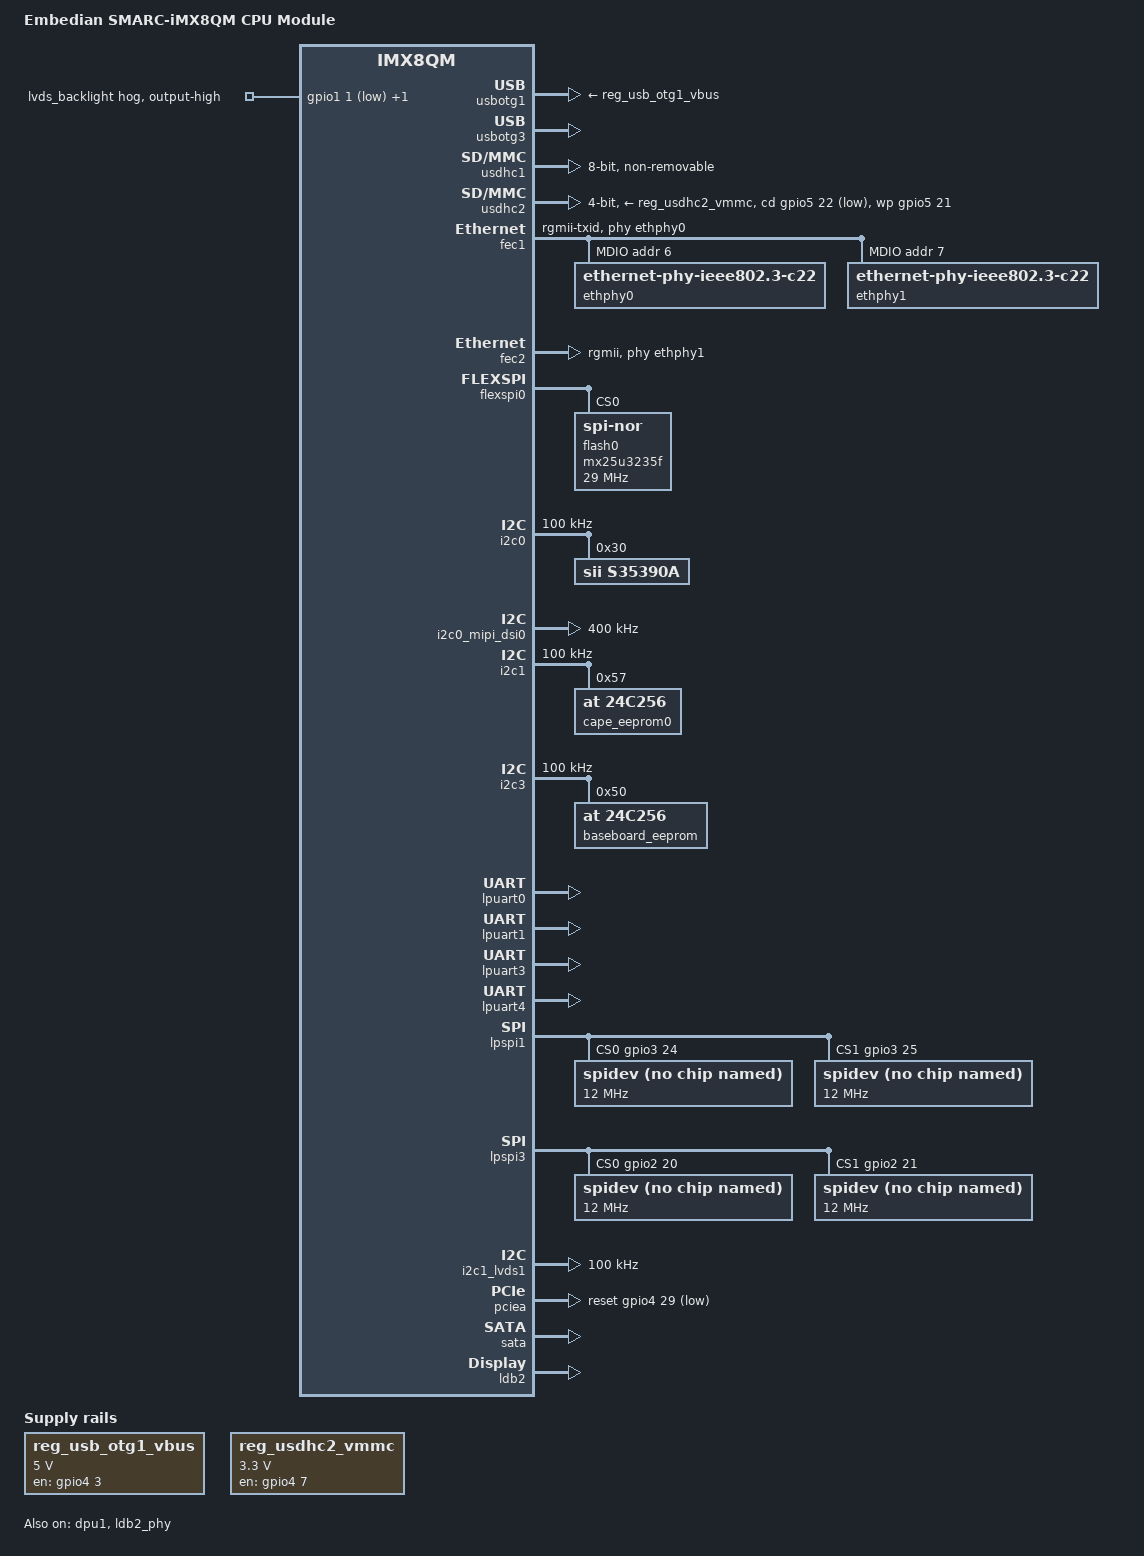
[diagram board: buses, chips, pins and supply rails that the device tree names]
// SPDX-License-Identifier: GPL-2.0+
/*
 * Copyright 2017-2018 NXP
 * Copyright 2023 Embedian, Inc.
 */

/dts-v1/;

#include "fsl-imx8qm.dtsi"

/ {
	model = "Embedian SMARC-iMX8QM CPU Module";
	compatible = "embedian,smarc-imx8qm", "fsl,imx8qm";

	/* SER0 */
	/*chosen {
		stdout-path = &lpuart0;
	};*/
	/* SER1 */
	/*chosen {
		stdout-path = &lpuart3;
	};*/
	/* SER2 */
	/*chosen {
		stdout-path = &lpuart1;
	};
	/* SER3 */
	chosen {
		stdout-path = &lpuart4;
	};

	aliases {
		ethernet1 = &fec2;	/* Let eth1addr mac address pass from U-Boot EEPROM */
	};

	regulators {
		compatible = "simple-bus";
		#address-cells = <1>;
		#size-cells = <0>;

		reg_usb_otg1_vbus: regulator@0 {
			compatible = "regulator-fixed";
			reg = <0>;
			regulator-name = "usb_otg1_vbus";
			regulator-min-microvolt = <5000000>;
			regulator-max-microvolt = <5000000>;
			gpio = <&gpio4 3 GPIO_ACTIVE_HIGH>;
			enable-active-high;
		};

		reg_usdhc2_vmmc: usdhc2_vmmc {
			compatible = "regulator-fixed";
			regulator-name = "sw-3p3-sd1";
			regulator-min-microvolt = <3300000>;
			regulator-max-microvolt = <3300000>;
			gpio = <&gpio4 7 GPIO_ACTIVE_HIGH>;
			off-on-delay-us = <4800>;
			enable-active-high;
		};
	};
};

&iomuxc {
	pinctrl-names = "default";
	pinctrl-0 = <&pinctrl_pcieb>, <&pinctrl_hdmisel>, <&pinctrl_lvds0_gpio>, <&pinctrl_lvds1_gpio>, <&pinctrl_edp0_gpio>, <&pinctrl_edp1_gpio>, <&pinctrl_hog>;

	imx8qm-smarc {
		pinctrl_hog: hoggrp {
			fsl,pins = <
				SC_P_MIPI_CSI0_GPIO0_01_LSIO_GPIO1_IO28		0x06000040	/* GPIO0 */
				SC_P_MIPI_CSI1_GPIO0_01_LSIO_GPIO1_IO31		0x06000040	/* GPIO1 */
				SC_P_MIPI_CSI0_GPIO0_00_LSIO_GPIO1_IO27		0x06000040	/* GPIO2 */
				SC_P_MIPI_CSI1_GPIO0_00_LSIO_GPIO1_IO30		0x06000040	/* GPIO3 */
				SC_P_GPT0_CLK_LSIO_GPIO0_IO14			0x06000040	/* GPIO4 */
				SC_P_GPT0_COMPARE_LSIO_GPIO0_IO16		0x06000040	/* GPIO5 */
				SC_P_GPT0_CAPTURE_LSIO_GPIO0_IO15		0x06000040	/* GPIO6 */
				SC_P_GPT1_COMPARE_LSIO_GPIO0_IO19		0x06000040	/* GPIO7 */
				SC_P_GPT1_CAPTURE_LSIO_GPIO0_IO18		0x06000040	/* GPIO8 */
				SC_P_GPT1_CLK_LSIO_GPIO0_IO17			0x06000040	/* GPIO9 */
				SC_P_FLEXCAN2_TX_LSIO_GPIO4_IO02		0x06000040	/* GPIO10 */
				SC_P_FLEXCAN2_RX_LSIO_GPIO4_IO01		0x06000040	/* GPIO11 */
				SC_P_SCU_GPIO0_03_LSIO_GPIO0_IO31		0x06000020	/* LID# */
				SC_P_SCU_GPIO0_04_LSIO_GPIO1_IO00		0x06000020	/* SLEEP */
				SC_P_SCU_GPIO0_05_LSIO_GPIO1_IO01		0x06000020	/* CHARGING */
				SC_P_SCU_GPIO0_06_LSIO_GPIO1_IO02		0x06000020	/* CHARGER_PRSNT# */
				SC_P_SCU_GPIO0_07_LSIO_GPIO1_IO03		0x06000020	/* BATLOW# */
				SC_P_SCU_GPIO0_02_LSIO_GPIO0_IO30		0x06000020	/* CARRIER_STBY# */
				SC_P_SPDIF0_TX_LSIO_GPIO2_IO15			0x06000020	/* WDT_TIME_OUT# */
			>;
		};

		pinctrl_hdmisel: hdmiselgrp {
			fsl,pins = <
				SC_P_SIM0_GPIO0_00_LSIO_GPIO0_IO05		0x06000020
			>;
		};

		pinctrl_lvds0_gpio: lvds0gpiogrp {
			fsl,pins = <
				SC_P_LVDS0_GPIO01_LSIO_GPIO1_IO05               0x06000020	/* LCD0_VDD_EN */
			>;
		};

		pinctrl_lvds1_gpio: lvds1gpiogrp {
			fsl,pins = <
				SC_P_LVDS1_GPIO01_LSIO_GPIO1_IO11               0x06000020	/* LCD1_VDD_EN */
			>;
		};

		pinctrl_backlight: backlightgrp {
			fsl,pins = <
				SC_P_LVDS0_I2C0_SCL_LSIO_GPIO1_IO06		0x06000020	/* LCD0_BKLT_EN */
				SC_P_LVDS0_I2C0_SDA_LSIO_GPIO1_IO07		0x06000020	/* LCD1_BKLT_EN */
			>;
		};

		pinctrl_pwm_lvds0: pwmlvds0grp {
			fsl,pins = <
				SC_P_LVDS0_GPIO00_LVDS0_PWM0_OUT		0x00000020
			>;
		};

		pinctrl_edp0_gpio: edp0gpiogrp {
			fsl,pins = <
				SC_P_MIPI_DSI1_GPIO0_00_LSIO_GPIO1_IO22		0x06000020	/* eDP0_EN */
				SC_P_MIPI_DSI1_GPIO0_01_LSIO_GPIO1_IO23		0x06000040	/* eDP0_IRQ */
			>;
		};

		pinctrl_edp1_gpio: edp1gpiogrp {
			fsl,pins = <
				SC_P_MIPI_DSI0_GPIO0_00_LSIO_GPIO1_IO18		0x06000020	/* eDP1_EN */
				SC_P_MIPI_DSI0_GPIO0_01_LSIO_GPIO1_IO19		0x06000040	/* eDP1_IRQ */
			>;
		};

		pinctrl_fec1: fec1grp {
			fsl,pins = <
				SC_P_COMP_CTL_GPIO_1V8_3V3_ENET_ENETB_PAD	0x000014a0
				SC_P_ENET0_MDC_CONN_ENET0_MDC			0x06000020
				SC_P_ENET0_MDIO_CONN_ENET0_MDIO			0x06000020
				SC_P_ENET0_RGMII_TX_CTL_CONN_ENET0_RGMII_TX_CTL	0x00000061
				SC_P_ENET0_RGMII_TXC_CONN_ENET0_RGMII_TXC	0x00000061
				SC_P_ENET0_RGMII_TXD0_CONN_ENET0_RGMII_TXD0	0x00000061
				SC_P_ENET0_RGMII_TXD1_CONN_ENET0_RGMII_TXD1	0x00000061
				SC_P_ENET0_RGMII_TXD2_CONN_ENET0_RGMII_TXD2	0x00000061
				SC_P_ENET0_RGMII_TXD3_CONN_ENET0_RGMII_TXD3	0x00000061
				SC_P_ENET0_RGMII_RXC_CONN_ENET0_RGMII_RXC	0x00000061
				SC_P_ENET0_RGMII_RX_CTL_CONN_ENET0_RGMII_RX_CTL	0x00000061
				SC_P_ENET0_RGMII_RXD0_CONN_ENET0_RGMII_RXD0	0x00000061
				SC_P_ENET0_RGMII_RXD1_CONN_ENET0_RGMII_RXD1	0x00000061
				SC_P_ENET0_RGMII_RXD2_CONN_ENET0_RGMII_RXD2	0x00000061
				SC_P_ENET0_RGMII_RXD3_CONN_ENET0_RGMII_RXD3	0x00000061
		/* ETH IRQ */
				SC_P_QSPI1A_DATA0_LSIO_GPIO4_IO26		0x06000021
			>;
		};

		pinctrl_fec2: fec2grp {
			fsl,pins = <
				SC_P_COMP_CTL_GPIO_1V8_3V3_ENET_ENETA_PAD	0x000014a0
				SC_P_ENET1_RGMII_TX_CTL_CONN_ENET1_RGMII_TX_CTL	0x00000060
				SC_P_ENET1_RGMII_TXC_CONN_ENET1_RGMII_TXC	0x00000060
				SC_P_ENET1_RGMII_TXD0_CONN_ENET1_RGMII_TXD0	0x00000060
				SC_P_ENET1_RGMII_TXD1_CONN_ENET1_RGMII_TXD1	0x00000060
				SC_P_ENET1_RGMII_TXD2_CONN_ENET1_RGMII_TXD2	0x00000060
				SC_P_ENET1_RGMII_TXD3_CONN_ENET1_RGMII_TXD3	0x00000060
				SC_P_ENET1_RGMII_RXC_CONN_ENET1_RGMII_RXC	0x00000060
				SC_P_ENET1_RGMII_RX_CTL_CONN_ENET1_RGMII_RX_CTL	0x00000060
				SC_P_ENET1_RGMII_RXD0_CONN_ENET1_RGMII_RXD0	0x00000060
				SC_P_ENET1_RGMII_RXD1_CONN_ENET1_RGMII_RXD1	0x00000060
				SC_P_ENET1_RGMII_RXD2_CONN_ENET1_RGMII_RXD2	0x00000060
				SC_P_ENET1_RGMII_RXD3_CONN_ENET1_RGMII_RXD3	0x00000060
		/* ETH IRQ */
				SC_P_QSPI1A_DATA0_LSIO_GPIO4_IO26		0x06000021
			>;
		};

		pinctrl_flexspi0: flexspi0grp {
			fsl,pins = <
				SC_P_QSPI0A_DATA0_LSIO_QSPI0A_DATA0	0x06000021
				SC_P_QSPI0A_DATA1_LSIO_QSPI0A_DATA1	0x06000021
				SC_P_QSPI0A_DATA2_LSIO_QSPI0A_DATA2	0x06000021
				SC_P_QSPI0A_DATA3_LSIO_QSPI0A_DATA3	0x06000021
				SC_P_QSPI0A_DQS_LSIO_QSPI0A_DQS		0x06000021
				SC_P_QSPI0A_SS0_B_LSIO_QSPI0A_SS0_B	0x06000021
				SC_P_QSPI0A_SCLK_LSIO_QSPI0A_SCLK	0x06000021
			>;
		};

		/* SER0 */
		pinctrl_lpuart0: lpuart0grp {
			fsl,pins = <
				SC_P_UART0_RX_DMA_UART0_RX		0x06000020
				SC_P_UART0_TX_DMA_UART0_TX		0x06000020
			>;
		};

		/* SER1 */
		pinctrl_lpuart3: lpuart3grp {
			fsl,pins = <
				SC_P_M41_GPIO0_00_DMA_UART3_RX		0x06000020
				SC_P_M41_GPIO0_01_DMA_UART3_TX		0x06000020
			>;
		};

		/* SER2 */
		pinctrl_lpuart1: lpuart1grp {
			fsl,pins = <
				SC_P_UART1_RX_DMA_UART1_RX		0x06000020
				SC_P_UART1_TX_DMA_UART1_TX		0x06000020
			>;
		};

		/* SER3 */
		pinctrl_lpuart4: lpuart4grp {
			fsl,pins = <
				SC_P_M40_GPIO0_00_DMA_UART4_RX		0x06000020
				SC_P_M40_GPIO0_01_DMA_UART4_TX		0x06000020
			>;
		};

		/* SPI1 */
		pinctrl_lpspi1: lpspi1grp {
			fsl,pins = <
				SC_P_ADC_IN3_DMA_SPI1_SCK		0x0600004c
				SC_P_ADC_IN4_DMA_SPI1_SDO               0x0600004c
				SC_P_ADC_IN5_DMA_SPI1_SDI		0x0600004c
			>;
		};

		pinctrl_lpspi1_cs: lpspi1csgrp {
			fsl,pins = <
				SC_P_ADC_IN6_LSIO_GPIO3_IO24		0x00000021
				SC_P_ADC_IN7_LSIO_GPIO3_IO25		0x00000021
			>;
		};

		/* SPI3 */
		pinctrl_lpspi3: lpspi3grp {
			fsl,pins = <
				SC_P_SPI3_SCK_DMA_SPI3_SCK		0x0600004c
				SC_P_SPI3_SDO_DMA_SPI3_SDO		0x0600004c
				SC_P_SPI3_SDI_DMA_SPI3_SDI		0x0600004c
			>;
		};

		pinctrl_lpspi3_cs: lpspi3csgrp {
			fsl,pins = <
				SC_P_SPI3_CS0_LSIO_GPIO2_IO20		0x00000021
				SC_P_SPI3_CS1_LSIO_GPIO2_IO21		0x00000021
			>;
		};

		pinctrl_i2c0: lpi2c0grp {
			fsl,pins = <
				SC_P_HDMI_TX0_TS_SCL_DMA_I2C0_SCL	0xc600004c
				SC_P_HDMI_TX0_TS_SDA_DMA_I2C0_SDA	0xc600004c
			>;
		};

		pinctrl_mipi0_lpi2c0: mipi0_lpi2c0grp {
			fsl,pins = <
				SC_P_MIPI_DSI0_I2C0_SCL_MIPI_DSI0_I2C0_SCL	0xc6000020
				SC_P_MIPI_DSI0_I2C0_SDA_MIPI_DSI0_I2C0_SDA	0xc6000020
			>;
		};

		/* I2C_PM */
		pinctrl_i2c1: lpi2c1grp {
			fsl,pins = <
				SC_P_USB_HSIC0_STROBE_DMA_I2C1_SCL		0xc600004c
				SC_P_USB_HSIC0_DATA_DMA_I2C1_SDA		0xc600004c
			>;
		};

		/* I2C_CAM0 */
		pinctrl_i2c_mipi_csi0: i2c_mipi_csi0 {
			fsl,pins = <
				SC_P_MIPI_CSI0_I2C0_SCL_MIPI_CSI0_I2C0_SCL	0xc600004c
				SC_P_MIPI_CSI0_I2C0_SDA_MIPI_CSI0_I2C0_SDA	0xc600004c
			>;
		};

		/* I2C_CAM1 */
		pinctrl_i2c_mipi_csi1: i2c_mipi_csi1 {
			fsl,pins = <
				SC_P_MIPI_CSI1_I2C0_SCL_MIPI_CSI1_I2C0_SCL	0xc600004c
				SC_P_MIPI_CSI1_I2C0_SDA_MIPI_CSI1_I2C0_SDA	0xc600004c
			>;
		};

		/* I2C_GP */
		pinctrl_i2c3: lpi2c3grp {
			fsl,pins = <
				SC_P_SIM0_PD_DMA_I2C3_SCL			0xc600004c
				SC_P_SIM0_POWER_EN_DMA_I2C3_SDA			0xc600004c
			>;
		};

		pinctrl_pciea: pcieagrp{
			fsl,pins = <
				SC_P_QSPI1A_SS0_B_LSIO_GPIO4_IO19		0x06000020
				SC_P_PCIE_CTRL0_WAKE_B_LSIO_GPIO4_IO28		0x04000021
				SC_P_PCIE_CTRL0_PERST_B_LSIO_GPIO4_IO29		0x06000020
			>;
		};

		pinctrl_pcieb: pciebgrp{
			fsl,pins = <
				SC_P_QSPI1A_SS1_B_LSIO_GPIO4_IO20		0x06000020
				SC_P_PCIE_CTRL1_WAKE_B_LSIO_GPIO4_IO31		0x04000021
				SC_P_PCIE_CTRL1_PERST_B_LSIO_GPIO5_IO00		0x06000020
			>;
		};

		pinctrl_typec: typecgrp {
			fsl,pins = <
				SC_P_QSPI1A_SS0_B_LSIO_GPIO4_IO19	0x60
				SC_P_USB_SS3_TC3_LSIO_GPIO4_IO06	0x60
				SC_P_QSPI1A_DATA0_LSIO_GPIO4_IO26	0x00000021
			>;
		};

		pinctrl_usbotg1: usbotg1 {
			fsl,pins = <
				SC_P_USB_SS3_TC0_LSIO_GPIO4_IO03	0x06000020
				SC_P_USB_SS3_TC2_LSIO_GPIO4_IO05	0x06000020
			>;
		};

		pinctrl_usbotg3: usbotg3 {
			fsl,pins = <
				SC_P_USB_SS3_TC1_LSIO_GPIO4_IO04	0x06000020
				SC_P_USB_SS3_TC3_LSIO_GPIO4_IO06	0x06000020
			>;
		};

		pinctrl_usdhc1: usdhc1grp {
			fsl,pins = <
				SC_P_EMMC0_CLK_CONN_EMMC0_CLK		0x06000041
				SC_P_EMMC0_CMD_CONN_EMMC0_CMD		0x00000021
				SC_P_EMMC0_DATA0_CONN_EMMC0_DATA0	0x00000021
				SC_P_EMMC0_DATA1_CONN_EMMC0_DATA1	0x00000021
				SC_P_EMMC0_DATA2_CONN_EMMC0_DATA2	0x00000021
				SC_P_EMMC0_DATA3_CONN_EMMC0_DATA3	0x00000021
				SC_P_EMMC0_DATA4_CONN_EMMC0_DATA4	0x00000021
				SC_P_EMMC0_DATA5_CONN_EMMC0_DATA5	0x00000021
				SC_P_EMMC0_DATA6_CONN_EMMC0_DATA6	0x00000021
				SC_P_EMMC0_DATA7_CONN_EMMC0_DATA7	0x00000021
				SC_P_EMMC0_STROBE_CONN_EMMC0_STROBE	0x00000041
				SC_P_EMMC0_RESET_B_CONN_EMMC0_RESET_B	0x00000021
			>;
		};

		pinctrl_usdhc2_gpio: usdhc2grpgpio {
			fsl,pins = <
				SC_P_USDHC1_DATA6_LSIO_GPIO5_IO21	0x00000021
				SC_P_USDHC1_DATA7_LSIO_GPIO5_IO22	0x00000021
				SC_P_USDHC1_RESET_B_LSIO_GPIO4_IO07	0x00000021
			>;
		};

		pinctrl_usdhc2: usdhc2grp {
			fsl,pins = <
				SC_P_USDHC1_CLK_CONN_USDHC1_CLK		0x06000041
				SC_P_USDHC1_CMD_CONN_USDHC1_CMD		0x00000021
				SC_P_USDHC1_DATA0_CONN_USDHC1_DATA0	0x00000021
				SC_P_USDHC1_DATA1_CONN_USDHC1_DATA1	0x00000021
				SC_P_USDHC1_DATA2_CONN_USDHC1_DATA2	0x00000021
				SC_P_USDHC1_DATA3_CONN_USDHC1_DATA3	0x00000021
				SC_P_USDHC1_VSELECT_CONN_USDHC1_VSELECT	0x00000021
			>;
		};

		pinctrl_lvds0_lpi2c1: lvds0lpi2c1grp {
			fsl,pins = <
				SC_P_LVDS0_I2C1_SCL_LVDS0_I2C1_SCL	0xc600004c
				SC_P_LVDS0_I2C1_SDA_LVDS0_I2C1_SDA	0xc600004c
			>;
		};

		/* I2C_LCD */
		pinctrl_lvds1_lpi2c0: lvds1lpi2c0grp {
			fsl,pins = <
				SC_P_LVDS1_I2C0_SCL_LVDS1_I2C0_SCL	0xc600004c
				SC_P_LVDS1_I2C0_SDA_LVDS1_I2C0_SDA	0xc600004c
			>;
		};

		pinctrl_wlreg_on: wlregongrp{
			fsl,pins = <
				SC_P_LVDS1_I2C0_SDA_LSIO_GPIO1_IO13		0x06000000
			>;
		};

		pinctrl_wlreg_on_sleep: wlregon_sleepgrp{
			fsl,pins = <
				SC_P_LVDS1_I2C0_SDA_LSIO_GPIO1_IO13		0x07800000
			>;
		};
	};
};

&gpio1 {
	status = "okay";
};

&gpio2 {
	status = "okay";
};

&gpio4 {
	status = "okay";
};

&gpio5 {
	status = "okay";
};

&usbotg1 {
	pinctrl-0 = <&pinctrl_usbotg1>;
	vbus-supply = <&reg_usb_otg1_vbus>;
	srp-disable;
	hnp-disable;
	adp-disable;
	disable-over-current;
	status = "okay";
};

&usbotg3 {
	pinctrl-0 = <&pinctrl_usbotg3>;
	gpio = <&gpio4 4 GPIO_ACTIVE_HIGH>;
	status = "okay";
};

&usdhc1 {
	pinctrl-names = "default", "state_100mhz", "state_200mhz";
	pinctrl-0 = <&pinctrl_usdhc1>;
	pinctrl-1 = <&pinctrl_usdhc1>;
	pinctrl-2 = <&pinctrl_usdhc1>;
	bus-width = <8>;
	non-removable;
	status = "okay";
};

&usdhc2 {
	pinctrl-names = "default", "state_100mhz", "state_200mhz";
	pinctrl-0 = <&pinctrl_usdhc2>, <&pinctrl_usdhc2_gpio>;
	pinctrl-1 = <&pinctrl_usdhc2>, <&pinctrl_usdhc2_gpio>;
	pinctrl-2 = <&pinctrl_usdhc2>, <&pinctrl_usdhc2_gpio>;
	bus-width = <4>;
	cd-gpios = <&gpio5 22 GPIO_ACTIVE_LOW>;
	wp-gpios = <&gpio5 21 GPIO_ACTIVE_HIGH>;
	vmmc-supply = <&reg_usdhc2_vmmc>;
	status = "okay";
};

&fec1 {
	pinctrl-names = "default";
	pinctrl-0 = <&pinctrl_fec1>;
	phy-mode = "rgmii-txid";
	phy-handle = <&ethphy0>;
	fsl,magic-packet;
	fsl,rgmii_rxc_dly;
	status = "okay";

	mdio {
		#address-cells = <1>;
		#size-cells = <0>;

		ethphy0: ethernet-phy@6 {
			compatible = "ethernet-phy-ieee802.3-c22";
			reg = <0x6>;
			at803x,eee-disabled;
			at803x,vddio-1p8v;
		};

		ethphy1: ethernet-phy@7 {
			compatible = "ethernet-phy-ieee802.3-c22";
			reg = <0x7>;
			at803x,eee-disabled;
			at803x,vddio-1p8v;
		};
	};
};

&fec2 {
	pinctrl-names = "default";
	pinctrl-0 = <&pinctrl_fec2>;
	phy-mode = "rgmii";
	phy-handle = <&ethphy1>;
	fsl,ar8031-phy-fixup;
	fsl,magic-packet;
	status = "okay";
};

&flexspi0 {
	pinctrl-names = "default";
	pinctrl-0 = <&pinctrl_flexspi0>;
	status = "okay";

	flash0: mx25u3235f@0 {
		reg = <0>;
		#address-cells = <1>;
		#size-cells = <1>;
		compatible = "jedec,spi-nor";
		spi-max-frequency = <29000000>;
		spi-nor,ddr-quad-read-dummy = <8>;
	};
};

&i2c0 {
	#address-cells = <1>;
	#size-cells = <0>;
	clock-frequency = <100000>;
	pinctrl-names = "default";
	pinctrl-0 = <&pinctrl_i2c0>;
	status = "okay";

	s35390a: s35390a@30 {
		compatible = "sii,s35390a";
		reg = <0x30>;
	};
};

&i2c0_mipi_dsi0 {
	#address-cells = <1>;
	#size-cells = <0>;
	pinctrl-names = "default";
	pinctrl-0 = <&pinctrl_mipi0_lpi2c0>;
	clock-frequency = <400000>;
	status = "okay";
};

/* I2C_PM */
&i2c1 {
	#address-cells = <1>;
	#size-cells = <0>;
	clock-frequency = <100000>;
	pinctrl-names = "default";
	pinctrl-0 = <&pinctrl_i2c1>;
	status = "okay";

	cape_eeprom0: cape_eeprom@57 {
		compatible = "at,24c256";
		reg = <0x57>;
	};
};

/* I2C_GP */
&i2c3 {
	#address-cells = <1>;
	#size-cells = <0>;
	clock-frequency = <100000>;
	pinctrl-names = "default";
	pinctrl-0 = <&pinctrl_i2c3>;
	status = "okay";

	baseboard_eeprom: baseboard_eeprom@50 {
		compatible = "at,24c256";
		reg = <0x50>;
	};
};

&lpuart0 { /* console */
	pinctrl-names = "default";
	pinctrl-0 = <&pinctrl_lpuart0>;
	status = "okay";
};

&lpuart1 {
	pinctrl-names = "default";
	pinctrl-0 = <&pinctrl_lpuart1>;
	status = "okay";
};

&lpuart3 {
	pinctrl-names = "default";
	pinctrl-0 = <&pinctrl_lpuart3>;
	status = "okay";
};

&lpuart4 {
	pinctrl-names = "default";
	pinctrl-0 = <&pinctrl_lpuart4>;
	status = "okay";
};

/* SPI0 */
&lpspi1 {
	#address-cells = <1>;
	#size-cells = <0>;
	fsl,spi-num-chipselects = <2>;
	pinctrl-names = "default";
	pinctrl-0 = <&pinctrl_lpspi1 &pinctrl_lpspi1_cs>;
	cs-gpios = <&gpio3 24 0>, <&gpio3 25 0>;
	status = "okay";

	spidev@0 {
		compatible = "spidev";
		spi-max-frequency = <12000000>;
		reg = <0>;
		status = "okay";
	};

	spidev@1 {
		compatible = "spidev";
		spi-max-frequency = <12000000>;
		reg = <1>;
		status = "okay";
	};
};

/* eSPI */
&lpspi3 {
	#address-cells = <1>;
	#size-cells = <0>;
	fsl,spi-num-chipselects = <2>;
	pinctrl-names = "default";
	pinctrl-0 = <&pinctrl_lpspi3 &pinctrl_lpspi3_cs>;
	cs-gpios = <&gpio2 20 0>, <&gpio2 21 0>;
	status = "okay";

	spidev@0 {
		compatible = "spidev";
		spi-max-frequency = <12000000>;
		reg = <0>;
		status = "okay";
	};

	spidev@1 {
		compatible = "spidev";
		spi-max-frequency = <12000000>;
		reg = <1>;
		status = "okay";
	};
};

/* I2C_LCD */
&i2c1_lvds1 {
	#address-cells = <1>;
	#size-cells = <0>;
	pinctrl-names = "default";
	pinctrl-0 = <&pinctrl_lvds1_lpi2c0>;
	clock-frequency = <100000>;
	status = "okay";
};

&pciea{
	ext_osc = <1>;
	pinctrl-names = "default";
	pinctrl-0 = <&pinctrl_pciea>;
	reset-gpio = <&gpio4 29 GPIO_ACTIVE_LOW>;
	clkreq-gpio = <&gpio4 19 GPIO_ACTIVE_LOW>;
	status = "okay";
};

&sata {
	pinctrl-names = "default";
	status = "okay";
};

&tsens {
	tsens-num = <6>;
};

&thermal_zones {
	pmic-thermal0 {
		polling-delay-passive = <250>;
		polling-delay = <2000>;
		thermal-sensors = <&tsens 5>;
		trips {
			pmic_alert0: trip0 {
				temperature = <110000>;
				hysteresis = <2000>;
				type = "passive";
			};
			pmic_crit0: trip1 {
				temperature = <125000>;
				hysteresis = <2000>;
				type = "critical";
			};
		};
		cooling-maps {
			map0 {
				trip = <&pmic_alert0>;
				cooling-device =
				<&A53_0 THERMAL_NO_LIMIT THERMAL_NO_LIMIT>;
			};
			map1 {
				trip = <&pmic_alert0>;
				cooling-device =
				<&A72_0 THERMAL_NO_LIMIT THERMAL_NO_LIMIT>;
			};
		};
	};
};

&dpu1 {
	status = "okay";
};

&gpio1 {
	pinctrl-names = "default";
	pinctrl-0 = <&pinctrl_backlight>;

	lvds_backlight_hog {
		gpio-hog;
		gpios = <1 5>, <1 6>;
		output-high;
		line-name = "lvds_backlight";
	};
};

&ldb2_phy {
	status = "okay";
};

&ldb2 {
	status = "okay";

	lvds-channel@0 {
		fsl,data-mapping = "jeida";
		fsl,data-width = <24>;
		status = "okay";

		display-timings {
			native-mode = <&timing0>;

			timing0: timing0 {
				clock-frequency = <33300000>;
				hactive = <800>;
				vactive = <480>;
				hback-porch = <64>;
				hfront-porch = <64>;
				vback-porch = <12>;
				vfront-porch = <4>;
				hsync-len = <128>;
				vsync-len = <2>;
			};
		};
	};
};
